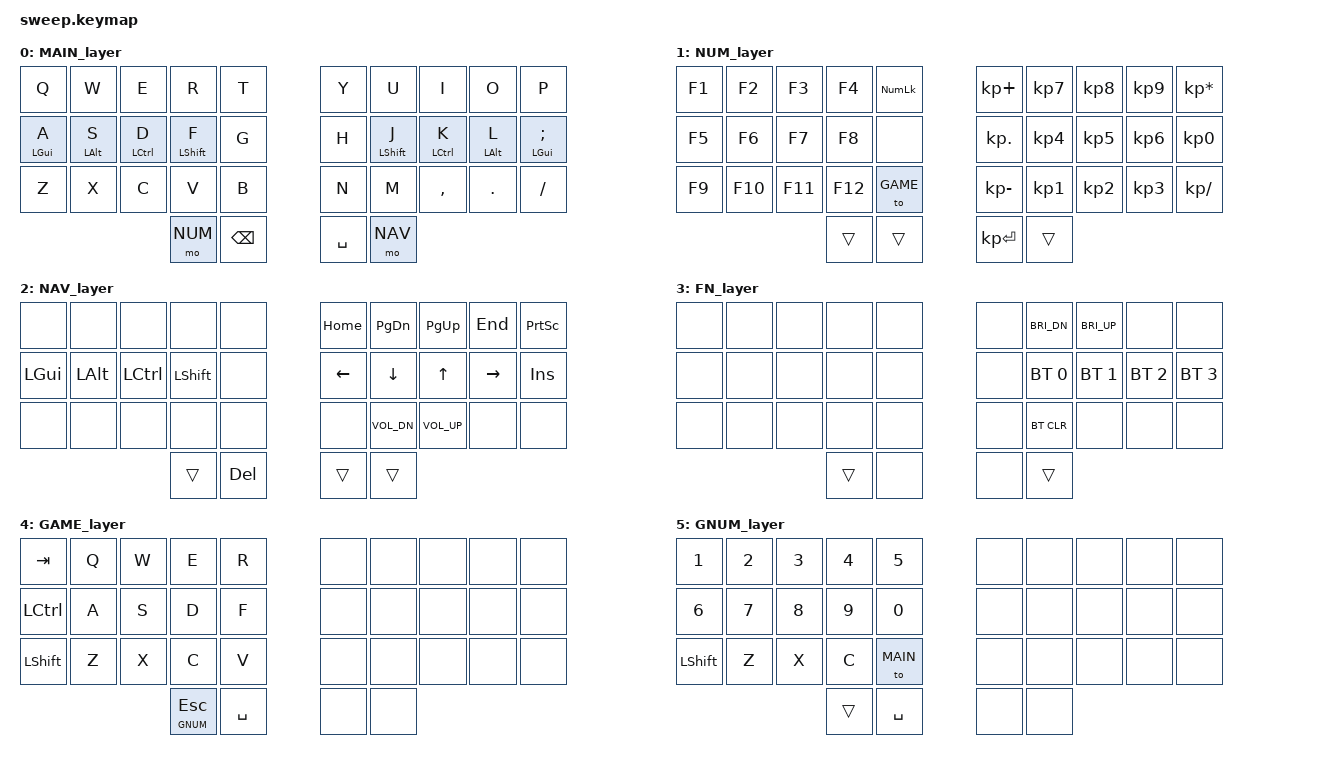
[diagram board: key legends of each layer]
#include <behaviors.dtsi>
#include <dt-bindings/zmk/keys.h>
#include <dt-bindings/zmk/bt.h>

#define MAIN 0
#define NUM  1
#define NAV  2
#define FN   3
#define GAME 4
#define GNUM 5

&mt {
    flavor = "balanced";
    tapping_term_ms = <180>;
    quick_tap_ms = <180>;
};

/ {
  conditional_layers {
    compatible = "zmk,conditional-layers";
    tri_layer {
      if-layers = <NUM NAV>;
      then-layer = <FN>;
    };
  };

  combos {
    compatible = "zmk,combos";

    combo_1 {
      timeout-ms = <60>;
      // Q A
      key-positions = <0 10>;
      bindings = <&kp N1>;
      layers = <MAIN>;
    };
    combo_2 {
      timeout-ms = <60>;
      // W S
      key-positions = <1 11>;
      bindings = <&kp N2>;
      layers = <MAIN>;
    };
    combo_3 {
      timeout-ms = <60>;
      // E D
      key-positions = <2 12>;
      bindings = <&kp N3>;
      layers = <MAIN>;
    };
    combo_4 {
      timeout-ms = <60>;
      // R F
      key-positions = <3 13>;
      bindings = <&kp N4>;
      layers = <MAIN>;
    };
    combo_5 {
      timeout-ms = <60>;
      // T G
      key-positions = <4 14>;
      bindings = <&kp N5>;
      layers = <MAIN>;
    };
    combo_6 {
      timeout-ms = <60>;
      // Y H
      key-positions = <5 15>;
      bindings = <&kp N6>;
      layers = <MAIN>;
    };
    combo_7 {
      timeout-ms = <60>;
      // U J
      key-positions = <6 16>;
      bindings = <&kp N7>;
      layers = <MAIN>;
    };
    combo_8 {
      timeout-ms = <60>;
      // I K
      key-positions = <7 17>;
      bindings = <&kp N8>;
      layers = <MAIN>;
    };
    combo_9 {
      timeout-ms = <60>;
      // O L
      key-positions = <8 18>;
      bindings = <&kp N9>;
      layers = <MAIN>;
    };
    combo_0 {
      timeout-ms = <60>;
      // P ;
      key-positions = <9 19>;
      bindings = <&kp N0>;
      layers = <MAIN>;
    };
    combo_lprn {
      timeout-ms = <60>;
      // D F
      key-positions = <12 13>;
      // (
      bindings = <&kp LPAR>;
      layers = <MAIN>;
    };
    combo_rprn {
      timeout-ms = <60>;
      // J K
      key-positions = <16 17>;
      // )
      bindings = <&kp RPAR>;
      layers = <MAIN>;
    };
    combo_lcbr {
      timeout-ms = <60>;
      // A S
      key-positions = <10 11>;
      // {
      bindings = <&kp LBRC>;
      layers = <MAIN>;
    };
    combo_rcbr {
      timeout-ms = <60>;
      // L ;
      key-positions = <18 19>;
      // }
      bindings = <&kp RBRC>;
      layers = <MAIN>;
    };
    combo_lbrc {
      timeout-ms = <60>;
      // F G
      key-positions = <13 14>;
      // [
      bindings = <&kp LBKT>;
      layers = <MAIN>;
    };
    combo_rbrc {
      timeout-ms = <60>;
      // H J
      key-positions = <15 16>;
      // ]
      bindings = <&kp RBKT>;
      layers = <MAIN>;
    };
    combo_lt {
      timeout-ms = <60>;
      // S D
      key-positions = <11 12>;
      // <
      bindings = <&kp LT>;
      layers = <MAIN>;
    };
    combo_gt {
      timeout-ms = <60>;
      // K L
      key-positions = <17 18>;
      // >
      bindings = <&kp GT>;
      layers = <MAIN>;
    };
    combo_tab {
      timeout-ms = <30>;
      // E R
      key-positions = <2 3>;
      bindings = <&kp TAB>;
      layers = <MAIN>;
    };
    combo_nubs {
      timeout-ms = <60>;
      // A Z
      key-positions = <10 20>;
      bindings = <&kp NON_US_BSLH>;
      layers = <MAIN>;
    };
    combo_caps {
      timeout-ms = <60>;
      // Z X C V
      key-positions = <20 21 22 23>;
      bindings = <&kp CAPS>;
      layers = <MAIN>;
    };
    combo_ent {
      timeout-ms = <60>;
      // A F
      key-positions = <10 13>;
      bindings = <&kp ENTER>;
      layers = <MAIN>;
    };
    combo_mins {
      timeout-ms = <60>;
      // M ,
      key-positions = <26 27>;
      // -
      bindings = <&kp MINUS>;
      layers = <MAIN>;
    };
    combo_eql {
      timeout-ms = <60>;
      // , .
      key-positions = <27 28>;
      // k
      bindings = <&kp EQUAL>;
      layers = <MAIN>;
    };
    combo_quot {
      timeout-ms = <60>;
      // ; /
      key-positions = <19 29>;
      // '
      bindings = <&kp SQT>;
      layers = <MAIN>;
    };
    combo_nuhs {
      timeout-ms = <60>;
      // L .
      key-positions = <18 28>;
      // #
      bindings = <&kp NON_US_HASH>;
      layers = <MAIN>;
    };
    combo_esc {
      timeout-ms = <60>;
      // S F
      key-positions = <11 13>;
      bindings = <&kp ESC>;
      layers = <MAIN>;
    };
    combo_grv {
      timeout-ms = <60>;
      // S X
      key-positions = <11 21>;
      // `
      bindings = <&kp GRAVE>;
      layers = <MAIN>;
    };
  };

  keymap {
    compatible = "zmk,keymap";

    MAIN_layer {
      bindings = <
        &kp Q      &kp W      &kp E       &kp R       &kp T            &kp Y   &kp U       &kp I        &kp O      &kp P 
        &mt LGUI A &mt LALT S &mt LCTRL D &mt LSHFT F &kp G            &kp H   &mt LSHFT J &mt LCTRL K  &mt LALT L &mt LGUI SEMI
        &kp Z      &kp X      &kp C       &kp V       &kp B            &kp N   &kp M       &kp COMMA    &kp DOT    &kp FSLH
                                          &mo NUM     &kp BSPC         &kp SPC &mo NAV
        >;
    };


    NUM_layer {
      bindings = <
        &kp F1 &kp F2  &kp F3  &kp F4   &kp KP_NUM     &kp KP_PLUS  &kp KP_N7   &kp KP_N8   &kp KP_N9  &kp KP_ASTERISK 
        &kp F5 &kp F6  &kp F7  &kp F8   &none          &kp KP_DOT   &kp KP_N4   &kp KP_N5   &kp KP_N6  &kp KP_N0
        &kp F9 &kp F10 &kp F11 &kp F12  &to GAME       &kp KP_MINUS &kp KP_N1   &kp KP_N2   &kp KP_N3  &kp KP_SLASH 
                               &trans  &trans          &kp KP_ENTER &trans
        >;
    };

    NAV_layer {
      bindings = <
        &none    &none    &none     &none     &none     &kp HOME &kp PG_DN    &kp PG_UP    &kp END   &kp PSCRN 
        &kp LGUI &kp LALT &kp LCTRL &kp LSHFT &none     &kp LEFT &kp DOWN     &kp UP       &kp RIGHT &kp INS
        &none    &none    &none     &none     &none     &none    &kp C_VOL_DN &kp C_VOL_UP &none     &none
                                    &trans    &kp DEL   &trans &trans
        >;
    };

    FN_layer {
      bindings = <
        &none &none &none &none  &none      &none &kp C_BRI_DN &kp C_BRI_UP &none        &none
        &none &none &none &none  &none      &none &bt BT_SEL 0 &bt BT_SEL 1 &bt BT_SEL 2 &bt BT_SEL 3
        &none &none &none &none  &none      &none &bt BT_CLR   &none        &none        &none
                          &trans &none      &none &trans
        >;
    };

    GAME_layer {
      bindings = <
        &kp TAB   &kp Q  &kp W  &kp E  &kp R                   &none &none &none &none &none
        &kp LCTRL &kp A  &kp S  &kp D  &kp F                   &none &none &none &none &none 
        &kp LSHFT &kp Z  &kp X  &kp C  &kp V                   &none &none &none &none &none
                           &lt GNUM ESC &kp SPC                 &none &none
        >;
    };

    GNUM_layer {
      bindings = <
        &kp N1 &kp N2 &kp N3 &kp N4 &kp N5                   &none &none &none &none &none
        &kp N6 &kp N7 &kp N8 &kp N9 &kp N0                   &none &none &none &none &none
        &kp LSHFT &kp Z  &kp X  &kp C  &to MAIN              &none &none &none &none &none
                           &trans &kp SPC                 &none &none
        >;
    };

  };
};
